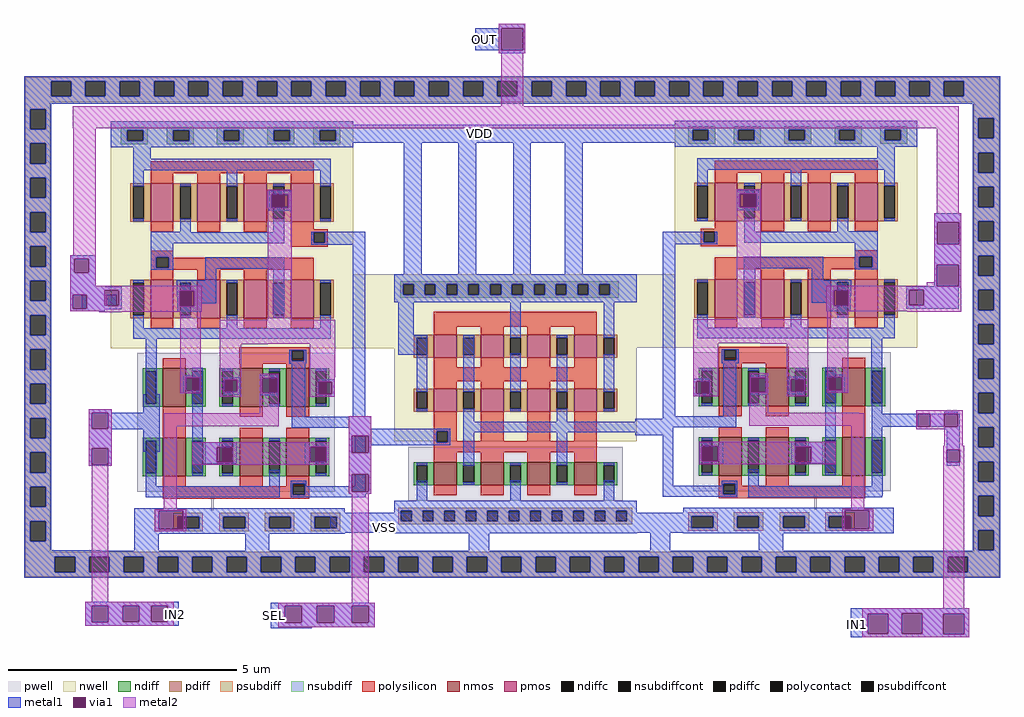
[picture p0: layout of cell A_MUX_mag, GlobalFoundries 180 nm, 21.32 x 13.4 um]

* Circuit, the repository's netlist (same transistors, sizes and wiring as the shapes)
* NGSPICE file created from A_MUX.ext - technology: gf180mcuC

.subckt nmos_3p3_6FEA4B a_n52_n50# a_256_n94# a_52_n94# a_356_n50# a_n256_n50# a_n444_n50#
+ a_152_n50# a_n356_n94# a_n152_n94# VSUBS
X0 a_152_n50# a_52_n94# a_n52_n50# VSUBS nfet_03v3 ad=0.13p pd=1.02u as=0.13p ps=1.02u w=0.5u l=0.5u
X1 a_n52_n50# a_n152_n94# a_n256_n50# VSUBS nfet_03v3 ad=0.13p pd=1.02u as=0.13p ps=1.02u w=0.5u l=0.5u
X2 a_n256_n50# a_n356_n94# a_n444_n50# VSUBS nfet_03v3 ad=0.13p pd=1.02u as=0.22p ps=1.88u w=0.5u l=0.5u
X3 a_356_n50# a_256_n94# a_152_n50# VSUBS nfet_03v3 ad=0.22p pd=1.88u as=0.13p ps=1.02u w=0.5u l=0.5u
.ends

.subckt pmos_3p3_KYEELV a_152_68# a_n444_n168# a_n256_68# a_n52_68# a_52_24# a_152_n168#
+ a_n444_68# a_356_68# a_256_n212# a_n256_n168# a_n356_n212# a_n152_24# w_n530_n298#
+ a_52_n212# a_n52_n168# a_n152_n212# a_n356_24# a_356_n168# a_256_24#
X0 a_n256_n168# a_n356_n212# a_n444_n168# w_n530_n298# pfet_03v3 ad=0.13p pd=1.02u as=0.22p ps=1.88u w=0.5u l=0.5u
X1 a_356_n168# a_256_n212# a_152_n168# w_n530_n298# pfet_03v3 ad=0.22p pd=1.88u as=0.13p ps=1.02u w=0.5u l=0.5u
X2 a_152_68# a_52_24# a_n52_68# w_n530_n298# pfet_03v3 ad=0.13p pd=1.02u as=0.13p ps=1.02u w=0.5u l=0.5u
X3 a_n52_68# a_n152_24# a_n256_68# w_n530_n298# pfet_03v3 ad=0.13p pd=1.02u as=0.13p ps=1.02u w=0.5u l=0.5u
X4 a_152_n168# a_52_n212# a_n52_n168# w_n530_n298# pfet_03v3 ad=0.13p pd=1.02u as=0.13p ps=1.02u w=0.5u l=0.5u
X5 a_356_68# a_256_24# a_152_68# w_n530_n298# pfet_03v3 ad=0.22p pd=1.88u as=0.13p ps=1.02u w=0.5u l=0.5u
X6 a_n52_n168# a_n152_n212# a_n256_n168# w_n530_n298# pfet_03v3 ad=0.13p pd=1.02u as=0.13p ps=1.02u w=0.5u l=0.5u
X7 a_n256_68# a_n356_24# a_n444_68# w_n530_n298# pfet_03v3 ad=0.13p pd=1.02u as=0.22p ps=1.88u w=0.5u l=0.5u
.ends

.subckt INV_2 VDD VSS IN OUT
Xnmos_3p3_6FEA4B_0 VSS IN IN VSS OUT VSS OUT IN IN VSS nmos_3p3_6FEA4B
Xpmos_3p3_KYEELV_0 OUT VDD OUT VDD IN OUT VDD VDD IN OUT IN IN VDD IN VDD IN IN VDD
+ IN pmos_3p3_KYEELV
.ends

.subckt pmos_3p3_YMKZL5 a_n138_n84# a_50_n84# a_n50_n128# w_n224_n214#
X0 a_50_n84# a_n50_n128# a_n138_n84# w_n224_n214# pfet_03v3 ad=0.37p pd=2.56u as=0.37p ps=2.56u w=0.84u l=0.5u
.ends

.subckt nmos_3p3_UKFAHE a_n138_n84# a_50_n84# a_n50_n128# VSUBS
X0 a_50_n84# a_n50_n128# a_n138_n84# VSUBS nfet_03v3 ad=0.37p pd=2.56u as=0.37p ps=2.56u w=0.84u l=0.5u
.ends

.subckt Tr_Gate VSS OUT IN CLK VDD
Xpmos_3p3_YMKZL5_0 OUT IN a_174_n81# VDD pmos_3p3_YMKZL5
Xpmos_3p3_YMKZL5_1 IN OUT a_174_n81# VDD pmos_3p3_YMKZL5
Xpmos_3p3_YMKZL5_2 OUT IN a_174_n81# VDD pmos_3p3_YMKZL5
Xpmos_3p3_YMKZL5_3 IN OUT a_174_n81# VDD pmos_3p3_YMKZL5
Xpmos_3p3_YMKZL5_4 a_174_n81# VDD CLK VDD pmos_3p3_YMKZL5
Xpmos_3p3_YMKZL5_5 VDD a_174_n81# CLK VDD pmos_3p3_YMKZL5
Xnmos_3p3_UKFAHE_0 OUT IN CLK VSS nmos_3p3_UKFAHE
Xpmos_3p3_YMKZL5_6 a_174_n81# VDD CLK VDD pmos_3p3_YMKZL5
Xnmos_3p3_UKFAHE_1 IN OUT CLK VSS nmos_3p3_UKFAHE
Xpmos_3p3_YMKZL5_7 VDD a_174_n81# CLK VDD pmos_3p3_YMKZL5
Xnmos_3p3_UKFAHE_2 OUT IN CLK VSS nmos_3p3_UKFAHE
Xnmos_3p3_UKFAHE_3 OUT IN CLK VSS nmos_3p3_UKFAHE
Xnmos_3p3_UKFAHE_5 a_174_n81# VSS CLK VSS nmos_3p3_UKFAHE
Xnmos_3p3_UKFAHE_4 VSS a_174_n81# CLK VSS nmos_3p3_UKFAHE
.ends

**.subckt A_MUX SEL IN1 IN2 VDD VSS OUT
XINV_2_0 VDD VSS SEL INV_2_0/OUT INV_2
XTr_Gate_0 VSS OUT IN2 SEL VDD Tr_Gate
XTr_Gate_1 VSS OUT IN1 INV_2_0/OUT VDD Tr_Gate
.ends

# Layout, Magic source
magic
tech gf180mcuC
magscale 1 10
<< nwell >>
rect 1133 811 1353 1134
rect 2376 813 2571 1134
<< psubdiff >>
rect -280 1977 3975 1994
rect -280 1911 -167 1977
rect -79 1911 -17 1977
rect 71 1911 133 1977
rect 221 1911 283 1977
rect 371 1911 433 1977
rect 521 1911 583 1977
rect 671 1911 733 1977
rect 821 1911 883 1977
rect 971 1911 1033 1977
rect 1121 1911 1183 1977
rect 1271 1911 1333 1977
rect 1421 1911 1483 1977
rect 1571 1911 1633 1977
rect 1721 1911 1783 1977
rect 1871 1911 1933 1977
rect 2021 1911 2083 1977
rect 2171 1911 2233 1977
rect 2321 1911 2383 1977
rect 2471 1911 2533 1977
rect 2621 1911 2683 1977
rect 2771 1911 2833 1977
rect 2921 1911 2983 1977
rect 3071 1911 3133 1977
rect 3221 1911 3283 1977
rect 3371 1911 3433 1977
rect 3521 1911 3583 1977
rect 3671 1911 3733 1977
rect 3821 1911 3975 1977
rect -280 1884 3975 1911
rect -280 1855 -170 1884
rect -280 1767 -258 1855
rect -191 1767 -170 1855
rect -280 1705 -170 1767
rect -280 1617 -258 1705
rect -191 1617 -170 1705
rect -280 1555 -170 1617
rect -280 1467 -258 1555
rect -191 1467 -170 1555
rect -280 1405 -170 1467
rect -280 1317 -258 1405
rect -191 1317 -170 1405
rect -280 1255 -170 1317
rect -280 1167 -258 1255
rect -191 1167 -170 1255
rect -280 1105 -170 1167
rect -280 1017 -258 1105
rect -191 1017 -170 1105
rect -280 955 -170 1017
rect -280 867 -258 955
rect -191 867 -170 955
rect -280 805 -170 867
rect -280 717 -258 805
rect -191 717 -170 805
rect -280 655 -170 717
rect -280 567 -258 655
rect -191 567 -170 655
rect -280 505 -170 567
rect -280 417 -258 505
rect -191 417 -170 505
rect -280 355 -170 417
rect -280 267 -258 355
rect -191 267 -170 355
rect -280 205 -170 267
rect -280 117 -258 205
rect -191 117 -170 205
rect -280 55 -170 117
rect -280 -33 -258 55
rect -191 -33 -170 55
rect -280 -79 -170 -33
rect 3865 1815 3975 1884
rect 3865 1727 3884 1815
rect 3951 1727 3975 1815
rect 3865 1665 3975 1727
rect 3865 1577 3884 1665
rect 3951 1577 3975 1665
rect 3865 1515 3975 1577
rect 3865 1427 3884 1515
rect 3951 1427 3975 1515
rect 3865 1365 3975 1427
rect 3865 1277 3884 1365
rect 3951 1277 3975 1365
rect 3865 1215 3975 1277
rect 3865 1127 3884 1215
rect 3951 1127 3975 1215
rect 3865 1065 3975 1127
rect 3865 977 3884 1065
rect 3951 977 3975 1065
rect 3865 915 3975 977
rect 3865 827 3884 915
rect 3951 827 3975 915
rect 3865 765 3975 827
rect 3865 677 3884 765
rect 3951 677 3975 765
rect 3865 615 3975 677
rect 3865 527 3884 615
rect 3951 527 3975 615
rect 3865 465 3975 527
rect 3865 377 3884 465
rect 3951 377 3975 465
rect 3865 315 3975 377
rect 3865 227 3884 315
rect 3951 227 3975 315
rect 3865 165 3975 227
rect 3865 77 3884 165
rect 3951 77 3975 165
rect 3865 15 3975 77
rect 3865 -73 3884 15
rect 3951 -73 3975 15
rect 3865 -79 3975 -73
rect -280 -102 3975 -79
rect -280 -168 -150 -102
rect -62 -168 0 -102
rect 88 -168 150 -102
rect 238 -168 300 -102
rect 388 -168 450 -102
rect 538 -168 600 -102
rect 688 -168 750 -102
rect 838 -168 900 -102
rect 988 -168 1050 -102
rect 1138 -168 1200 -102
rect 1288 -168 1350 -102
rect 1438 -168 1500 -102
rect 1588 -168 1650 -102
rect 1738 -168 1800 -102
rect 1888 -168 1950 -102
rect 2038 -168 2100 -102
rect 2188 -168 2250 -102
rect 2338 -168 2400 -102
rect 2488 -168 2550 -102
rect 2638 -168 2700 -102
rect 2788 -168 2850 -102
rect 2938 -168 3000 -102
rect 3088 -168 3150 -102
rect 3238 -168 3300 -102
rect 3388 -168 3450 -102
rect 3538 -168 3600 -102
rect 3688 -168 3750 -102
rect 3838 -168 3975 -102
rect -280 -189 3975 -168
<< psubdiffcont >>
rect -167 1911 -79 1977
rect -17 1911 71 1977
rect 133 1911 221 1977
rect 283 1911 371 1977
rect 433 1911 521 1977
rect 583 1911 671 1977
rect 733 1911 821 1977
rect 883 1911 971 1977
rect 1033 1911 1121 1977
rect 1183 1911 1271 1977
rect 1333 1911 1421 1977
rect 1483 1911 1571 1977
rect 1633 1911 1721 1977
rect 1783 1911 1871 1977
rect 1933 1911 2021 1977
rect 2083 1911 2171 1977
rect 2233 1911 2321 1977
rect 2383 1911 2471 1977
rect 2533 1911 2621 1977
rect 2683 1911 2771 1977
rect 2833 1911 2921 1977
rect 2983 1911 3071 1977
rect 3133 1911 3221 1977
rect 3283 1911 3371 1977
rect 3433 1911 3521 1977
rect 3583 1911 3671 1977
rect 3733 1911 3821 1977
rect -258 1767 -191 1855
rect -258 1617 -191 1705
rect -258 1467 -191 1555
rect -258 1317 -191 1405
rect -258 1167 -191 1255
rect -258 1017 -191 1105
rect -258 867 -191 955
rect -258 717 -191 805
rect -258 567 -191 655
rect -258 417 -191 505
rect -258 267 -191 355
rect -258 117 -191 205
rect -258 -33 -191 55
rect 3884 1727 3951 1815
rect 3884 1577 3951 1665
rect 3884 1427 3951 1515
rect 3884 1277 3951 1365
rect 3884 1127 3951 1215
rect 3884 977 3951 1065
rect 3884 827 3951 915
rect 3884 677 3951 765
rect 3884 527 3951 615
rect 3884 377 3951 465
rect 3884 227 3951 315
rect 3884 77 3951 165
rect 3884 -73 3951 15
rect -150 -168 -62 -102
rect 0 -168 88 -102
rect 150 -168 238 -102
rect 300 -168 388 -102
rect 450 -168 538 -102
rect 600 -168 688 -102
rect 750 -168 838 -102
rect 900 -168 988 -102
rect 1050 -168 1138 -102
rect 1200 -168 1288 -102
rect 1350 -168 1438 -102
rect 1500 -168 1588 -102
rect 1650 -168 1738 -102
rect 1800 -168 1888 -102
rect 1950 -168 2038 -102
rect 2100 -168 2188 -102
rect 2250 -168 2338 -102
rect 2400 -168 2488 -102
rect 2550 -168 2638 -102
rect 2700 -168 2788 -102
rect 2850 -168 2938 -102
rect 3000 -168 3088 -102
rect 3150 -168 3238 -102
rect 3300 -168 3388 -102
rect 3450 -168 3538 -102
rect 3600 -168 3688 -102
rect 3750 -168 3838 -102
<< metal1 >>
rect 1789 2209 1905 2227
rect 1686 2112 1799 2209
rect 1896 2112 1905 2209
rect 1789 2098 1905 2112
rect -285 1977 3979 1999
rect -285 1911 -167 1977
rect -79 1911 -17 1977
rect 71 1911 133 1977
rect 221 1911 283 1977
rect 371 1911 433 1977
rect 521 1911 583 1977
rect 671 1911 733 1977
rect 821 1911 883 1977
rect 971 1911 1033 1977
rect 1121 1911 1183 1977
rect 1271 1911 1333 1977
rect 1421 1911 1483 1977
rect 1571 1911 1633 1977
rect 1721 1911 1783 1977
rect 1871 1911 1933 1977
rect 2021 1911 2083 1977
rect 2171 1911 2233 1977
rect 2321 1911 2383 1977
rect 2471 1911 2533 1977
rect 2621 1911 2683 1977
rect 2771 1911 2833 1977
rect 2921 1911 2983 1977
rect 3071 1911 3133 1977
rect 3221 1911 3283 1977
rect 3371 1911 3433 1977
rect 3521 1911 3583 1977
rect 3671 1911 3733 1977
rect 3821 1911 3979 1977
rect -285 1879 3979 1911
rect -285 1855 -165 1879
rect -285 1767 -258 1855
rect -191 1767 -165 1855
rect 3859 1815 3979 1879
rect -285 1705 -165 1767
rect 1076 1708 2587 1786
rect 3859 1727 3884 1815
rect 3951 1727 3979 1815
rect -285 1617 -258 1705
rect -191 1617 -165 1705
rect -285 1555 -165 1617
rect -285 1467 -258 1555
rect -191 1467 -165 1555
rect -285 1405 -165 1467
rect -285 1317 -258 1405
rect -191 1317 -165 1405
rect -285 1255 -165 1317
rect -285 1167 -258 1255
rect -191 1167 -165 1255
rect -285 1105 -165 1167
rect -285 1017 -258 1105
rect -191 1017 -165 1105
rect -285 955 -165 1017
rect -82 1201 28 1217
rect -82 1139 -65 1201
rect -3 1139 28 1201
rect -82 1084 28 1139
rect 1374 1112 1452 1708
rect 1613 1106 1691 1708
rect 1852 1099 1930 1708
rect 2078 1108 2156 1708
rect 3859 1665 3979 1727
rect 3859 1577 3884 1665
rect 3951 1577 3979 1665
rect 3859 1515 3979 1577
rect 3859 1427 3884 1515
rect 3951 1427 3979 1515
rect 3691 1360 3810 1399
rect 3691 1265 3705 1360
rect 3800 1265 3810 1360
rect 3691 1190 3810 1265
rect 3692 1175 3810 1190
rect -82 1044 67 1084
rect 3692 1080 3703 1175
rect 3798 1080 3810 1175
rect 3648 1076 3810 1080
rect 3859 1365 3979 1427
rect 3859 1277 3884 1365
rect 3951 1277 3979 1365
rect 3859 1215 3979 1277
rect 3859 1127 3884 1215
rect 3951 1127 3979 1215
rect -82 982 -72 1044
rect -10 982 120 1044
rect 3648 983 3799 1076
rect 3859 1065 3979 1127
rect -82 971 67 982
rect 3859 977 3884 1065
rect 3951 977 3979 1065
rect -285 867 -258 955
rect -191 867 -165 955
rect -285 805 -165 867
rect -285 717 -258 805
rect -191 717 -165 805
rect -285 655 -165 717
rect -285 567 -258 655
rect -191 567 -165 655
rect 3859 915 3979 977
rect 3859 827 3884 915
rect 3951 827 3979 915
rect 3859 765 3979 827
rect 3859 677 3884 765
rect 3951 677 3979 765
rect 3859 615 3979 677
rect -285 505 -165 567
rect -285 417 -258 505
rect -191 417 -165 505
rect -285 355 -165 417
rect -285 267 -258 355
rect -191 267 -165 355
rect -3 529 98 543
rect 235 529 307 609
rect -3 528 307 529
rect -3 458 12 528
rect 82 458 307 528
rect 3735 524 3795 533
rect 3859 527 3884 615
rect 3951 527 3979 615
rect 3458 523 3736 524
rect -3 457 307 458
rect -3 373 98 457
rect -3 301 11 373
rect 83 301 98 373
rect 235 358 307 457
rect 1134 459 1232 512
rect 2385 488 2551 503
rect 1134 427 1453 459
rect 2336 442 2551 488
rect 3458 467 3619 523
rect 3675 467 3736 523
rect 3458 466 3736 467
rect 3794 466 3804 524
rect 3735 457 3804 466
rect 2385 430 2551 442
rect -3 296 98 301
rect 1134 353 1147 427
rect 1221 387 1453 427
rect 1221 353 1232 387
rect -285 205 -165 267
rect -285 117 -258 205
rect -191 117 -165 205
rect 1134 259 1232 353
rect 3746 367 3804 457
rect 3746 311 3747 367
rect 3803 311 3804 367
rect 3746 297 3804 311
rect 3859 465 3979 527
rect 3859 377 3884 465
rect 3951 377 3979 465
rect 3859 315 3979 377
rect 1134 183 1146 259
rect 1222 183 1232 259
rect 1134 174 1232 183
rect 3859 227 3884 315
rect 3951 227 3979 315
rect -285 55 -165 117
rect 3859 165 3979 227
rect -285 -33 -258 55
rect -191 -33 -165 55
rect -285 -73 -165 -33
rect -285 -74 46 -73
rect 197 -74 304 107
rect 681 -74 786 105
rect 1054 3 2632 91
rect 1657 -74 1747 3
rect 2451 -74 2539 3
rect 2926 -74 3031 107
rect 3859 77 3884 165
rect 3951 77 3979 165
rect 3859 15 3979 77
rect 3859 -73 3884 15
rect 3951 -73 3979 15
rect 3859 -74 3979 -73
rect -285 -102 3979 -74
rect -285 -168 -150 -102
rect -62 -168 0 -102
rect 88 -168 150 -102
rect 238 -168 300 -102
rect 388 -168 450 -102
rect 538 -168 600 -102
rect 688 -168 750 -102
rect 838 -168 900 -102
rect 988 -168 1050 -102
rect 1138 -168 1200 -102
rect 1288 -168 1350 -102
rect 1438 -168 1500 -102
rect 1588 -168 1650 -102
rect 1738 -168 1800 -102
rect 1888 -168 1950 -102
rect 2038 -168 2100 -102
rect 2188 -168 2250 -102
rect 2338 -168 2400 -102
rect 2488 -168 2550 -102
rect 2638 -168 2700 -102
rect 2788 -168 2850 -102
rect 2938 -168 3000 -102
rect 3088 -168 3150 -102
rect 3238 -168 3300 -102
rect 3388 -168 3450 -102
rect 3538 -168 3600 -102
rect 3688 -168 3750 -102
rect 3838 -168 3979 -102
rect -285 -193 3979 -168
rect -17 -314 392 -297
rect -17 -315 146 -314
rect -17 -387 11 -315
rect 83 -386 146 -315
rect 218 -316 392 -314
rect 218 -386 272 -316
rect 342 -386 392 -316
rect 83 -387 392 -386
rect -17 -403 392 -387
rect 794 -302 972 -301
rect 794 -314 1248 -302
rect 794 -315 995 -314
rect 794 -389 855 -315
rect 929 -389 995 -315
rect 794 -390 995 -389
rect 1071 -390 1146 -314
rect 1222 -390 1248 -314
rect 794 -410 1248 -390
rect 3327 -347 3845 -327
rect 3327 -349 3549 -347
rect 794 -413 972 -410
rect 3327 -438 3401 -349
rect 3490 -438 3549 -349
rect 3640 -349 3845 -347
rect 3640 -438 3731 -349
rect 3327 -440 3731 -438
rect 3822 -440 3845 -349
rect 3327 -452 3845 -440
<< via1 >>
rect 1799 2112 1896 2209
rect -65 1139 -3 1201
rect 3705 1265 3800 1360
rect 3703 1080 3798 1175
rect -72 982 -10 1044
rect 12 458 82 528
rect 11 301 83 373
rect 3619 467 3675 523
rect 3736 466 3794 524
rect 1147 353 1221 427
rect 3747 311 3803 367
rect 1146 183 1222 259
rect 11 -387 83 -315
rect 146 -386 218 -314
rect 272 -386 342 -316
rect 855 -389 929 -315
rect 995 -390 1071 -314
rect 1146 -390 1222 -314
rect 3401 -438 3490 -349
rect 3549 -438 3640 -347
rect 3731 -440 3822 -349
<< metal2 >>
rect 1789 2209 1905 2227
rect 1789 2112 1799 2209
rect 1896 2112 1905 2209
rect 1789 2098 1905 2112
rect 1799 1868 1896 2098
rect -73 1771 3799 1868
rect -69 1217 28 1771
rect 3702 1399 3799 1771
rect -82 1201 28 1217
rect -82 1139 -65 1201
rect -3 1139 28 1201
rect 3691 1360 3810 1399
rect 3691 1265 3705 1360
rect 3800 1265 3810 1360
rect 3691 1190 3810 1265
rect -82 1084 28 1139
rect 3692 1175 3810 1190
rect 3692 1099 3703 1175
rect -82 1044 67 1084
rect 3659 1080 3703 1099
rect 3798 1080 3810 1175
rect 3659 1076 3810 1080
rect -82 982 -72 1044
rect -10 982 78 1044
rect -82 971 67 982
rect 3659 969 3809 1076
rect -3 528 98 543
rect -3 458 12 528
rect 82 458 98 528
rect 3613 524 3816 539
rect 3613 523 3736 524
rect -3 373 98 458
rect -3 301 11 373
rect 83 301 98 373
rect -3 296 98 301
rect 1134 427 1232 512
rect 3613 467 3619 523
rect 3675 467 3736 523
rect 3613 466 3736 467
rect 3794 466 3816 524
rect 3613 455 3816 466
rect 1134 353 1147 427
rect 1221 353 1232 427
rect 3736 384 3816 455
rect 11 -297 83 296
rect 1134 259 1232 353
rect 1134 183 1146 259
rect 1222 183 1232 259
rect 1134 174 1232 183
rect 3731 367 3822 384
rect 3731 311 3747 367
rect 3803 311 3822 367
rect -17 -314 369 -297
rect 1146 -302 1222 174
rect -17 -315 146 -314
rect -17 -387 11 -315
rect 83 -386 146 -315
rect 218 -316 369 -314
rect 218 -386 272 -316
rect 342 -386 369 -316
rect 83 -387 369 -386
rect -17 -403 369 -387
rect 826 -314 1248 -302
rect 826 -315 995 -314
rect 826 -389 855 -315
rect 929 -389 995 -315
rect 826 -390 995 -389
rect 1071 -390 1146 -314
rect 1222 -390 1248 -314
rect 3731 -327 3822 311
rect 826 -410 1248 -390
rect 3378 -347 3845 -327
rect 3378 -349 3549 -347
rect 3378 -438 3401 -349
rect 3490 -438 3549 -349
rect 3640 -349 3845 -347
rect 3640 -438 3731 -349
rect 3378 -440 3731 -438
rect 3822 -440 3845 -349
rect 3378 -452 3845 -440
use INV_2  INV_2_0
transform 1 0 1311 0 1 486
box 21 -485 1081 648
use Tr_Gate  Tr_Gate_0
transform -1 0 1154 0 1 1233
box -53 -1233 1187 569
use Tr_Gate  Tr_Gate_1
transform 1 0 2558 0 1 1235
box -53 -1233 1187 569
<< labels >>
flabel metal1 811 -359 811 -359 0 FreeSans 800 0 0 0 SEL
port 0 nsew
flabel metal1 3355 -397 3355 -397 0 FreeSans 800 0 0 0 IN1
port 1 nsew
flabel metal1 377 -354 377 -354 0 FreeSans 800 0 0 0 IN2
port 2 nsew
flabel metal1 1705 1747 1705 1747 0 FreeSans 800 0 0 0 VDD
port 3 nsew
flabel metal1 1288 27 1288 27 0 FreeSans 800 0 0 0 VSS
port 4 nsew
flabel metal1 1728 2158 1728 2158 0 FreeSans 800 0 0 0 OUT
port 5 nsew
<< end >>

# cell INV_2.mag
magic
tech gf180mcuC
magscale 1 10
<< nwell >>
rect 21 513 1081 648
rect 21 507 166 513
rect 168 507 525 508
rect 528 507 1081 513
rect 371 470 907 483
rect 321 180 324 242
<< psubdiff >>
rect 38 -385 1061 -372
rect 38 -431 51 -385
rect 97 -431 145 -385
rect 191 -431 239 -385
rect 285 -431 333 -385
rect 379 -431 427 -385
rect 473 -431 521 -385
rect 567 -431 615 -385
rect 661 -431 709 -385
rect 755 -431 803 -385
rect 849 -431 897 -385
rect 943 -431 991 -385
rect 1037 -431 1061 -385
rect 38 -444 1061 -431
<< nsubdiff >>
rect 47 604 1002 617
rect 47 558 60 604
rect 106 558 154 604
rect 200 558 251 604
rect 297 558 345 604
rect 391 558 442 604
rect 488 558 536 604
rect 582 558 633 604
rect 679 558 727 604
rect 773 558 824 604
rect 870 558 918 604
rect 964 558 1002 604
rect 47 545 1002 558
<< psubdiffcont >>
rect 51 -431 97 -385
rect 145 -431 191 -385
rect 239 -431 285 -385
rect 333 -431 379 -385
rect 427 -431 473 -385
rect 521 -431 567 -385
rect 615 -431 661 -385
rect 709 -431 755 -385
rect 803 -431 849 -385
rect 897 -431 943 -385
rect 991 -431 1037 -385
<< nsubdiffcont >>
rect 60 558 106 604
rect 154 558 200 604
rect 251 558 297 604
rect 345 558 391 604
rect 442 558 488 604
rect 536 558 582 604
rect 633 558 679 604
rect 727 558 773 604
rect 824 558 870 604
rect 918 558 964 604
<< polysilicon >>
rect 195 417 907 483
rect 195 180 907 242
rect 194 -39 295 9
rect 194 -87 207 -39
rect 255 -83 295 -39
rect 399 -83 499 3
rect 603 -83 703 3
rect 807 -83 907 3
rect 255 -87 907 -83
rect 194 -131 907 -87
<< polycontact >>
rect 207 -87 255 -39
<< metal1 >>
rect 21 604 1081 648
rect 21 558 60 604
rect 106 558 154 604
rect 200 558 251 604
rect 297 558 345 604
rect 391 558 442 604
rect 488 558 536 604
rect 582 558 633 604
rect 679 558 727 604
rect 773 558 824 604
rect 870 558 918 604
rect 964 558 1081 604
rect 21 525 1081 558
rect 21 524 574 525
rect 40 381 106 524
rect 40 295 166 381
rect 120 135 166 295
rect 324 141 370 381
rect 528 372 574 524
rect 936 372 982 525
rect 528 140 574 302
rect 732 142 778 290
rect 936 134 982 298
rect 324 2 370 53
rect 732 2 778 50
rect 35 -39 266 -27
rect 35 -87 207 -39
rect 255 -87 266 -39
rect 35 -99 266 -87
rect 324 -44 1071 2
rect 324 -189 370 -44
rect 732 -182 778 -44
rect 120 -342 166 -256
rect 528 -342 574 -253
rect 936 -342 982 -252
rect 22 -385 1080 -342
rect 22 -431 51 -385
rect 97 -431 145 -385
rect 191 -431 239 -385
rect 285 -431 333 -385
rect 379 -431 427 -385
rect 473 -431 521 -385
rect 567 -431 615 -385
rect 661 -431 709 -385
rect 755 -431 803 -385
rect 849 -431 897 -385
rect 943 -431 991 -385
rect 1037 -431 1080 -385
rect 22 -485 1080 -431
use nmos_3p3_6FEA4B  nmos_3p3_6FEA4B_0
transform 1 0 551 0 1 -225
box -468 -118 468 118
use pmos_3p3_KYEELV  pmos_3p3_KYEELV_0
transform 1 0 551 0 1 215
box -530 -298 530 298
<< labels >>
flabel nsubdiffcont 559 581 559 581 0 FreeSans 800 0 0 0 VDD
port 0 nsew
flabel psubdiffcont 544 -408 544 -408 0 FreeSans 800 0 0 0 VSS
port 1 nsew
flabel metal1 53 -64 53 -64 0 FreeSans 800 0 0 0 IN
port 2 nsew
flabel metal1 1042 -23 1042 -23 0 FreeSans 800 0 0 0 OUT
port 3 nsew
<< end >>

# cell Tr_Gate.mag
magic
tech gf180mcuC
magscale 1 10
<< nwell >>
rect 0 428 1060 569
rect 815 342 870 380
rect 397 -180 398 -151
rect 145 -341 916 -337
<< pwell >>
rect 205 -475 206 -466
rect 217 -480 269 -434
rect 609 -1130 620 -442
<< pmos >>
rect 662 -180 663 -151
<< psubdiff >>
rect 58 -1160 187 -1141
rect 58 -1210 73 -1160
rect 168 -1210 187 -1160
rect 58 -1223 187 -1210
rect 258 -1160 387 -1141
rect 258 -1210 273 -1160
rect 368 -1210 387 -1160
rect 258 -1223 387 -1210
rect 458 -1160 587 -1141
rect 458 -1210 473 -1160
rect 568 -1210 587 -1160
rect 458 -1223 587 -1210
rect 658 -1160 787 -1141
rect 658 -1210 673 -1160
rect 768 -1210 787 -1160
rect 658 -1223 787 -1210
<< nsubdiff >>
rect 58 529 176 545
rect 58 483 78 529
rect 147 483 176 529
rect 58 469 176 483
rect 258 529 376 545
rect 258 483 278 529
rect 347 483 376 529
rect 258 469 376 483
rect 478 529 596 545
rect 478 483 498 529
rect 567 483 596 529
rect 478 469 596 483
rect 698 529 816 545
rect 698 483 718 529
rect 787 483 816 529
rect 698 469 816 483
rect 898 529 1016 545
rect 898 483 918 529
rect 987 483 1016 529
rect 898 469 1016 483
<< psubdiffcont >>
rect 73 -1210 168 -1160
rect 273 -1210 368 -1160
rect 473 -1210 568 -1160
rect 673 -1210 768 -1160
<< nsubdiffcont >>
rect 78 483 147 529
rect 278 483 347 529
rect 498 483 567 529
rect 718 483 787 529
rect 918 483 987 529
<< polysilicon >>
rect 174 342 886 394
rect 113 89 174 97
rect 113 84 274 89
rect 113 37 126 84
rect 174 37 274 84
rect 113 21 274 37
rect 786 -25 886 4
rect 786 -28 807 -25
rect 174 -72 807 -28
rect 862 -72 886 -25
rect 174 -81 886 -72
rect 192 -431 498 -418
rect 192 -466 217 -431
rect 205 -477 217 -466
rect 269 -466 498 -431
rect 269 -477 478 -466
rect 204 -490 478 -477
rect 490 -490 498 -466
rect 732 -770 832 -722
rect 192 -1063 212 -1025
rect 264 -1063 832 -1025
rect 192 -1081 832 -1063
<< polycontact >>
rect 126 37 174 84
rect 807 -72 862 -25
rect 217 -477 269 -431
rect 212 -1063 264 -1016
<< metal1 >>
rect 0 529 1060 569
rect 0 483 78 529
rect 147 483 278 529
rect 347 483 498 529
rect 567 483 718 529
rect 787 483 918 529
rect 987 483 1060 529
rect 0 455 1060 483
rect 885 405 961 455
rect 99 355 961 405
rect 99 285 145 355
rect 507 285 553 355
rect 915 285 961 355
rect 270 249 369 265
rect 270 191 284 249
rect 358 191 369 249
rect 270 178 369 191
rect -52 84 185 85
rect -52 37 126 84
rect 174 37 185 84
rect -52 30 185 37
rect 303 84 349 132
rect 711 86 757 132
rect 711 84 886 86
rect 303 36 886 84
rect -52 -722 3 30
rect 786 -25 886 36
rect 302 -75 648 -26
rect 302 -288 351 -75
rect 599 -127 648 -75
rect 786 -72 807 -25
rect 862 -72 886 -25
rect 786 -80 886 -72
rect 599 -172 771 -127
rect 599 -226 695 -172
rect 663 -240 695 -226
rect 759 -195 771 -172
rect 1011 -170 1187 -155
rect 759 -240 770 -195
rect 663 -263 770 -240
rect 1011 -238 1024 -170
rect 1088 -238 1187 -170
rect 1011 -252 1187 -238
rect 99 -336 145 -290
rect 507 -336 553 -290
rect 915 -336 961 -290
rect 99 -382 961 -336
rect 205 -431 280 -429
rect 205 -477 217 -431
rect 269 -477 280 -431
rect 205 -490 280 -477
rect 81 -570 154 -558
rect 81 -623 95 -570
rect 153 -623 154 -570
rect 81 -635 154 -623
rect 211 -722 269 -490
rect 657 -540 703 -509
rect 329 -555 409 -542
rect 329 -617 331 -555
rect 398 -617 409 -555
rect 329 -629 409 -617
rect 494 -561 567 -549
rect 494 -614 507 -561
rect 565 -614 567 -561
rect 494 -626 567 -614
rect 657 -551 743 -540
rect 657 -608 671 -551
rect 731 -608 743 -551
rect 657 -620 743 -608
rect -52 -762 269 -722
rect -53 -770 269 -762
rect -53 -1026 -6 -770
rect 106 -853 212 -833
rect 657 -834 703 -620
rect 859 -665 906 -382
rect 859 -667 907 -665
rect 106 -919 118 -853
rect 189 -919 212 -853
rect 106 -932 212 -919
rect 510 -856 703 -834
rect 510 -922 526 -856
rect 597 -922 703 -856
rect 510 -927 703 -922
rect 205 -1016 273 -1003
rect 205 -1026 212 -1016
rect -53 -1063 212 -1026
rect 264 -1063 273 -1016
rect -53 -1073 273 -1063
rect 321 -1027 368 -953
rect 657 -977 703 -927
rect 860 -717 907 -667
rect 860 -763 1001 -717
rect 860 -953 906 -763
rect 861 -1027 908 -954
rect 321 -1067 908 -1027
rect 321 -1072 907 -1067
rect 321 -1075 906 -1072
rect 38 -1133 957 -1121
rect 38 -1160 743 -1133
rect 38 -1210 73 -1160
rect 168 -1210 273 -1160
rect 368 -1210 473 -1160
rect 568 -1210 673 -1160
rect 38 -1214 743 -1210
rect 850 -1214 957 -1133
rect 38 -1233 957 -1214
<< via1 >>
rect 284 191 358 249
rect 695 -240 759 -172
rect 1024 -238 1088 -170
rect 95 -623 153 -570
rect 331 -617 398 -555
rect 507 -614 565 -561
rect 671 -608 731 -551
rect 118 -919 189 -853
rect 526 -922 597 -856
rect 743 -1160 850 -1133
rect 743 -1210 768 -1160
rect 768 -1210 850 -1160
rect 743 -1214 850 -1210
<< metal2 >>
rect 270 265 375 270
rect 270 249 376 265
rect 270 191 284 249
rect 358 191 376 249
rect 270 -298 375 191
rect 663 -170 1111 -151
rect 663 -172 1024 -170
rect 663 -240 695 -172
rect 759 -238 1024 -172
rect 1088 -238 1111 -170
rect 759 -240 1111 -238
rect 663 -264 1111 -240
rect 80 -404 583 -298
rect 80 -550 190 -404
rect 373 -405 583 -404
rect 81 -570 190 -550
rect 81 -623 95 -570
rect 153 -623 190 -570
rect 81 -635 190 -623
rect 327 -542 408 -535
rect 327 -555 409 -542
rect 327 -617 331 -555
rect 398 -617 409 -555
rect 327 -629 409 -617
rect 490 -561 583 -405
rect 490 -614 507 -561
rect 565 -614 583 -561
rect 327 -682 408 -629
rect 490 -635 583 -614
rect 666 -551 757 -264
rect 1015 -265 1111 -264
rect 666 -608 671 -551
rect 731 -608 757 -551
rect 666 -620 757 -608
rect 325 -707 408 -682
rect 325 -708 807 -707
rect 325 -763 828 -708
rect 106 -853 703 -834
rect 106 -919 118 -853
rect 189 -856 703 -853
rect 189 -919 526 -856
rect 106 -922 526 -919
rect 597 -922 703 -856
rect 106 -932 703 -922
rect 772 -1126 828 -763
rect 731 -1133 867 -1126
rect 731 -1214 743 -1133
rect 850 -1214 867 -1133
rect 731 -1223 867 -1214
use nmos_3p3_UKFAHE  nmos_3p3_UKFAHE_0
transform 1 0 243 0 1 -898
box -162 -152 162 152
use nmos_3p3_UKFAHE  nmos_3p3_UKFAHE_1
transform 1 0 447 0 1 -898
box -162 -152 162 152
use nmos_3p3_UKFAHE  nmos_3p3_UKFAHE_2
transform 1 0 782 0 1 -594
box -162 -152 162 152
use nmos_3p3_UKFAHE  nmos_3p3_UKFAHE_3
transform 1 0 782 0 1 -898
box -162 -152 162 152
use nmos_3p3_UKFAHE  nmos_3p3_UKFAHE_4
transform 1 0 447 0 1 -594
box -162 -152 162 152
use nmos_3p3_UKFAHE  nmos_3p3_UKFAHE_5
transform 1 0 243 0 1 -594
box -162 -152 162 152
use pmos_3p3_YMKZL5  pmos_3p3_YMKZL5_0
transform 1 0 428 0 1 -208
box -224 -214 224 214
use pmos_3p3_YMKZL5  pmos_3p3_YMKZL5_1
transform 1 0 632 0 1 -208
box -224 -214 224 214
use pmos_3p3_YMKZL5  pmos_3p3_YMKZL5_2
transform 1 0 836 0 1 -208
box -224 -214 224 214
use pmos_3p3_YMKZL5  pmos_3p3_YMKZL5_3
transform 1 0 224 0 1 -208
box -224 -214 224 214
use pmos_3p3_YMKZL5  pmos_3p3_YMKZL5_4
transform 1 0 836 0 1 214
box -224 -214 224 214
use pmos_3p3_YMKZL5  pmos_3p3_YMKZL5_5
transform 1 0 632 0 1 214
box -224 -214 224 214
use pmos_3p3_YMKZL5  pmos_3p3_YMKZL5_6
transform 1 0 428 0 1 214
box -224 -214 224 214
use pmos_3p3_YMKZL5  pmos_3p3_YMKZL5_7
transform 1 0 224 0 1 214
box -224 -214 224 214
<< labels >>
flabel psubdiffcont 514 -1187 514 -1187 0 FreeSans 480 0 0 0 VSS
port 0 nsew
flabel metal1 1133 -218 1133 -218 0 FreeSans 480 0 0 0 OUT
port 1 nsew
flabel metal1 966 -741 966 -741 0 FreeSans 480 0 0 0 IN
port 2 nsew
flabel metal1 -37 -344 -37 -344 0 FreeSans 480 0 0 0 CLK
port 3 nsew
flabel nsubdiffcont 533 506 533 506 0 FreeSans 640 0 0 0 VDD
port 5 nsew
<< end >>

# cell nmos_3p3_UKFAHE: kit device nmos_3p3, w 0.84 l 0.5 m 1 nf 1 diffcov 100 polycov 100 guard 0 glc 0 grc 0 gtc 0 gbc 0 tbcov 100 rlcov 100 topc 0 botc 0 poverlap 0 doverlap 1 lmin 0.28 wmin 0.22 full_metal 0 compatible {nmos_3p3 nmos_6p0 nmos_6p0_nat}

# cell pmos_3p3_YMKZL5: kit device pmos_3p3, w 0.84 l 0.5 m 1 nf 1 diffcov 100 polycov 100 guard 0 glc 0 grc 0 gtc 0 gbc 0 tbcov 100 rlcov 100 topc 0 botc 0 poverlap 0 doverlap 1 lmin 0.28 wmin 0.22 full_metal 0 compatible {pmos_3p3 pmos_6p0}

# cell nmos_3p3_6FEA4B: kit device nmos_3p3, w 0.5 l 0.5 m 1 nf 4 diffcov 100 polycov 100 guard 0 glc 0 grc 0 gtc 0 gbc 0 tbcov 100 rlcov 100 topc 0 botc 0 poverlap 0 doverlap 1 lmin 0.28 wmin 0.22 full_metal 0 compatible {nmos_3p3 nmos_6p0 nmos_6p0_nat}

# cell pmos_3p3_KYEELV: kit device pmos_3p3, w 0.5 l 0.5 m 2 nf 4 diffcov 100 polycov 100 guard 0 glc 0 grc 0 gtc 0 gbc 0 tbcov 100 rlcov 100 topc 0 botc 0 poverlap 0 doverlap 1 lmin 0.28 wmin 0.22 full_metal 0 compatible {pmos_3p3 pmos_6p0}
